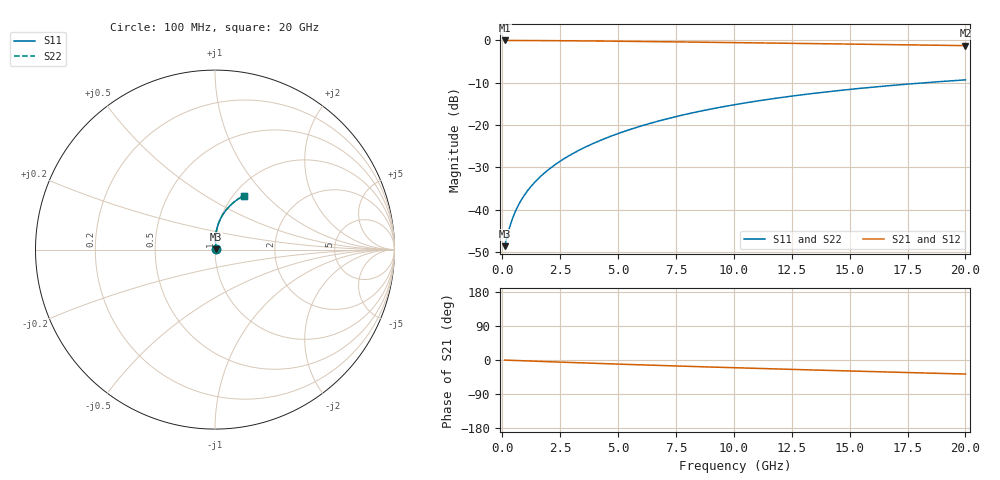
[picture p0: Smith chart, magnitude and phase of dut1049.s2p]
! Touchstone file exported from HFSS 2024.1.0
!  File:  C:/UserFiles/LocalFiles/RDL_TSV_Batchsim/temp_RDL_top_1049_1780044404.aedt
!  Generated:  04:49:12 PM May 29, 2026
!  Design:  RDL_top
!  Project:  temp_RDL_top_1049_1780044404
!  Setup:  Setup1
!  Solution:  Sweep
! Variables:
!  dtsv = 10.80580581um
!  hbump = 3um
!  htsv = 94.87um
!  ldown = 100um
!  lrdl = 482.54um
!  p = 40
!  p1 = 59.58um
!  rhole = 1um
!  t = 450um
!  tdown = 3.915915916um
!  trdl = 2.08um
!  wdown = 15.38538539um
!  wrdl = 28.02um
# GHz S MA R 50.000000
! Terminal data exported
! Port[1] = Box2_T1
! Port[2] = Box2_T2
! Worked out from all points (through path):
!   200 points, 100 MHz to 20 GHz, reference 50 ohm
!   highest |S21| = -0.03 dB at 100 MHz (marker M1); lowest = -1.3 dB at 20 GHz (marker M2)
!   group delay of S21, straight-line fit = 5.09 ps
!   lowest |S11| = -48.6 dB at 100 MHz (marker M3), VSWR 1.01, Z = 50.3 + j0.166 ohm
!   |S11| at or under -10 dB: start of sweep to 18.27 GHz
!   |S22| runs from -48.6 to -9.3 dB; largest |S21 - S12| = 3.2e-15
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0.1  0.003726 26.3  0.9966 -0.2  0.9966 -0.2  0.003726 26.3
! Gamma 0 0 0 0
! Port Impedance 50 0 50 0
0.3  0.006006 53.6  0.9963 -0.7  0.9963 -0.7  0.006006 53.6
0.4  0.007346 59.8  0.9961 -0.9  0.9961 -0.9  0.007346 59.8
0.5  0.008704 64.1  0.9959 -1.2  0.9959 -1.2  0.008704 64.1
0.6  0.01006 67.2  0.9957 -1.4  0.9957 -1.4  0.01006 67.2
0.7  0.01142 69.6  0.9955 -1.6  0.9955 -1.6  0.01142 69.6
0.9  0.01416 73.3  0.995 -2.1  0.995 -2.1  0.01416 73.3
1.2  0.01832 77.1  0.9943 -2.7  0.9943 -2.7  0.01832 77.1
1.7  0.02548 81.1  0.9929 -3.8  0.9929 -3.8  0.02548 81.1
2.2  0.03291 83.5  0.9911 -4.9  0.9911 -4.9  0.03291 83.5
2.8  0.0422 85.2  0.9886 -6.2  0.9886 -6.2  0.0422 85.2
3.5  0.05352 86.3  0.9851 -7.7  0.9851 -7.7  0.05352 86.3
4.2  0.06535 86.8  0.9812 -9.2  0.9812 -9.2  0.06535 86.8
5  0.07942 86.7  0.9762 -10.9  0.9762 -10.9  0.07942 86.7
5.9  0.0958 86.1  0.9702 -12.7  0.9702 -12.7  0.0958 86.1
6.8  0.1126 85.2  0.9639 -14.4  0.9639 -14.4  0.1126 85.2
8.4  0.143 82.8  0.9524 -17.4  0.9524 -17.4  0.143 82.8
10.1  0.1753 79.8  0.94 -20.6  0.94 -20.6  0.1753 79.8
11.7  0.2052 76.8  0.9281 -23.4  0.9281 -23.4  0.2051 76.8
13.4  0.2359 73.6  0.9154 -26.3  0.9154 -26.3  0.2358 73.6
16.7  0.2916 67.5  0.8907 -31.8  0.8907 -31.8  0.2916 67.5
20  0.3418 61.7  0.8659 -37.1  0.8659 -37.1  0.3417 61.7
